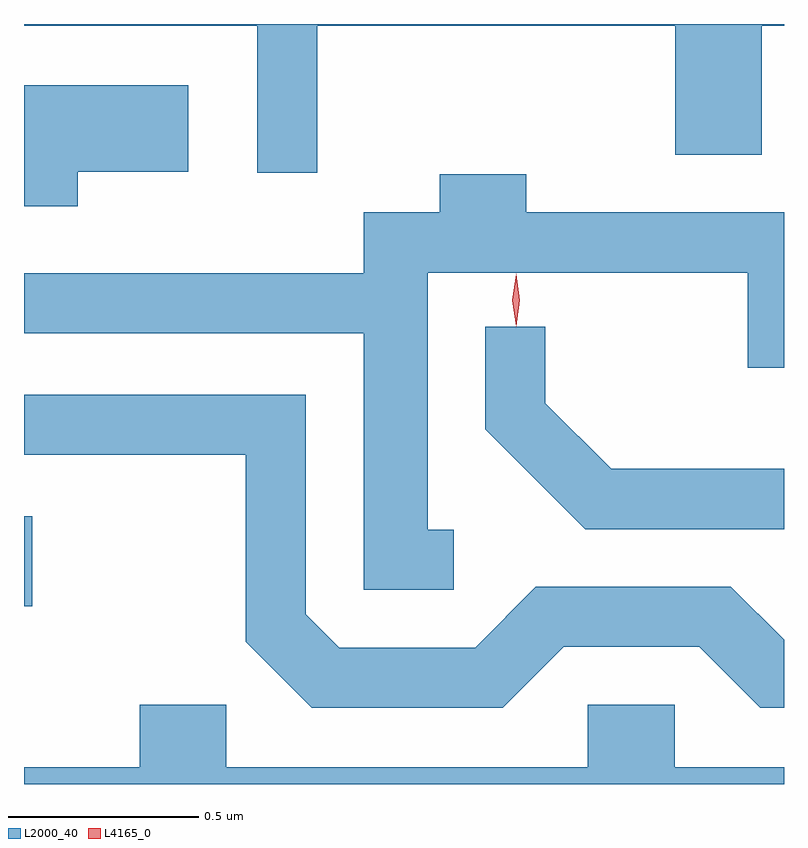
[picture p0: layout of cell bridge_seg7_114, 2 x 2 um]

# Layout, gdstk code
import gdstk
lib = gdstk.Library(unit=1e-6, precision=1e-09)
def R(c, l, rs):  # rectangles x0, y0, x1, y1
    for r in rs: c.add(gdstk.rectangle(r[:2], r[2:], *l))
def P(c, l, *ps):  # polygons
    for p in ps: c.add(gdstk.Polygon(p, *l))
L2000_40 = (2000, 40)
L4165_0 = (4165, 0)

bridge_seg7_114 = lib.new_cell('bridge_seg7_114')
R(bridge_seg7_114, L2000_40, [(1548.197,1777.168,1548.219,1777.404)])
P(bridge_seg7_114, L2000_40, [(1548.197,1778.696),(1548.811,1778.696),(1548.811,1778.308),(1548.969,1778.308),(1548.969,1778.696),(1549.911,1778.696),(1549.911,1778.356),(1550.139,1778.356),(1550.139,1778.696),(1550.197,1778.696),(1550.197,1778.7),(1548.197,1778.7)],
  [(1548.339,1778.311),(1548.629,1778.311),(1548.629,1778.539),(1548.197,1778.539),(1548.197,1778.221),(1548.339,1778.221)],
  [(1549.328,1777.369),(1549.259,1777.369),(1549.259,1778.046),(1550.101,1778.046),(1550.101,1777.796),(1550.197,1777.796),(1550.197,1778.204),(1549.519,1778.204),(1549.519,1778.304),(1549.291,1778.304),(1549.291,1778.204),(1549.091,1778.204),(1549.091,1778.044),(1548.197,1778.044),(1548.197,1777.886),(1549.091,1777.886),(1549.091,1777.211),(1549.328,1777.211)],
  [(1550.197,1777.529),(1549.742,1777.529),(1549.569,1777.702),(1549.569,1777.903),(1549.411,1777.903),(1549.411,1777.634),(1549.674,1777.371),(1550.197,1777.371)],
  [(1549.617,1777.061),(1549.974,1777.061),(1550.134,1776.901),(1550.197,1776.901),(1550.197,1777.079),(1550.057,1777.219),(1549.544,1777.219),(1549.384,1777.059),(1549.027,1777.059),(1548.939,1777.147),(1548.939,1777.724),(1548.197,1777.724),(1548.197,1777.566),(1548.781,1777.566),(1548.781,1777.074),(1548.954,1776.901),(1549.457,1776.901)],
  [(1550.197,1776.744),(1549.909,1776.744),(1549.909,1776.909),(1549.681,1776.909),(1549.681,1776.744),(1548.729,1776.744),(1548.729,1776.909),(1548.501,1776.909),(1548.501,1776.744),(1548.197,1776.744),(1548.197,1776.7),(1550.197,1776.7)])
P(bridge_seg7_114, L4165_0, [(1549.492,1777.903),(1549.492,1777.904),(1549.482,1777.973),(1549.492,1778.042),(1549.492,1778.043),(1549.493,1778.042),(1549.502,1777.973),(1549.493,1777.904)])

lib.write_gds('bridge_seg7_114.gds')
